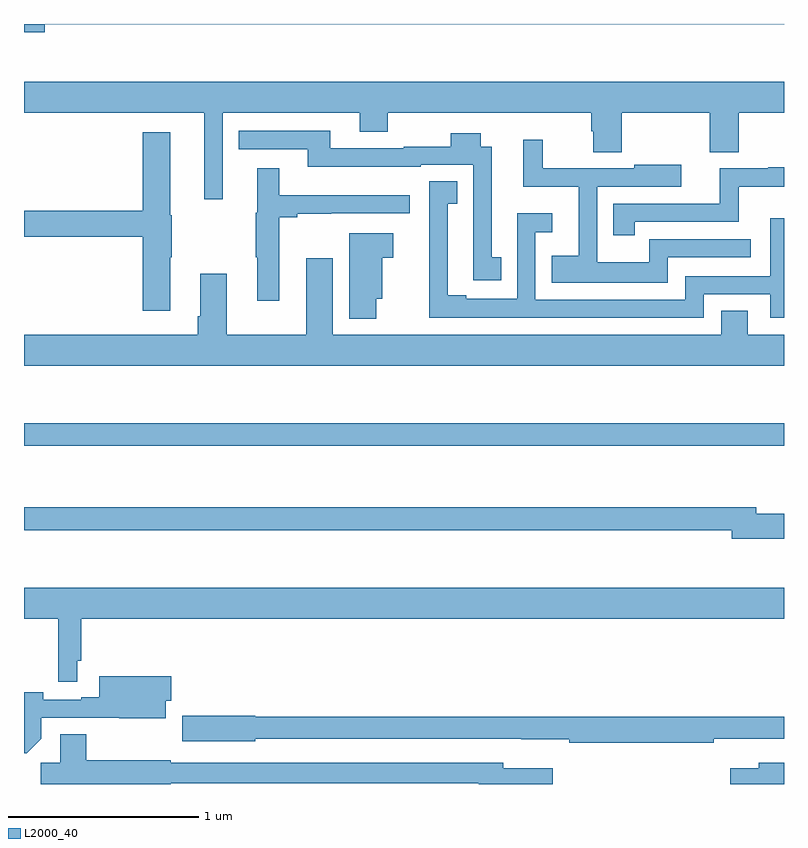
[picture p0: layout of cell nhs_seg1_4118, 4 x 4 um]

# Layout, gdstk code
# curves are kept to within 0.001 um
import gdstk
lib = gdstk.Library(unit=1e-6, precision=1e-09)
def R(c, l, rs):  # rectangles x0, y0, x1, y1
    for r in rs: c.add(gdstk.rectangle(r[:2], r[2:], *l))
def P(c, l, *ps):  # polygons
    for p in ps: c.add(gdstk.Polygon(p, *l))
L2000_40 = (2000, 40)

nhs_seg1_4118 = lib.new_cell('nhs_seg1_4118')
R(nhs_seg1_4118, L2000_40, [(335,549.978,339,550.099)])
P(nhs_seg1_4118, L2000_40, [(335.11,552.198),(339,552.198),(339,552.199),(335,552.199),(335,552.155),(335.11,552.155)],
  [(336.045,551.732),(336.767,551.732),(336.767,551.633),(336.915,551.633),(336.915,551.732),(337.985,551.732),(337.985,551.634),(337.997,551.634),(337.997,551.524),(338.145,551.524),(338.145,551.732),(338.608,551.732),(338.608,551.524),(338.763,551.524),(338.763,551.732),(339,551.732),(339,551.896),(335,551.896),(335,551.732),(335.948,551.732),(335.948,551.277),(336.045,551.277)],
  [(337.511,550.971),(337.462,550.971),(337.462,551.553),(337.405,551.553),(337.405,551.623),(337.246,551.623),(337.246,551.554),(336.999,551.554),(336.999,551.544),(336.613,551.544),(336.613,551.637),(336.13,551.637),(336.13,551.541),(336.494,551.541),(336.494,551.447),(337.089,551.447),(337.089,551.457),(337.365,551.457),(337.365,551.174),(337.364,551.174),(337.364,550.851),(337.511,550.851)],
  [(335.77,550.972),(335.778,550.972),(335.778,551.193),(335.77,551.193),(335.77,551.629),(335.624,551.629),(335.624,551.216),(335,551.216),(335,551.08),(335.624,551.08),(335.624,550.689),(335.77,550.689)],
  [(338.388,550.971),(338.824,550.971),(338.824,551.067),(338.395,551.067),(338.395,551.066),(338.292,551.066),(338.292,550.945),(338.016,550.945),(338.016,551.343),(338.458,551.343),(338.458,551.458),(338.213,551.458),(338.213,551.439),(337.73,551.439),(337.73,551.59),(337.628,551.59),(337.628,551.342),(337.919,551.342),(337.919,550.978),(337.777,550.978),(337.777,550.838),(338.388,550.838)],
  [(338.214,551.157),(338.761,551.157),(338.761,551.342),(339,551.342),(339,551.444),(338.916,551.444),(338.916,551.439),(338.663,551.439),(338.663,551.253),(338.101,551.253),(338.101,551.088),(338.214,551.088)],
  [(336.343,551.182),(336.439,551.182),(336.439,551.2),(336.617,551.2),(336.617,551.202),(337.03,551.202),(337.03,551.299),(336.343,551.299),(336.343,551.44),(336.227,551.44),(336.227,551.205),(336.22,551.205),(336.22,550.972),(336.227,550.972),(336.227,550.743),(336.343,550.743)],
  [(337.589,550.653),(338.577,550.653),(338.577,550.776),(338.928,550.776),(338.928,550.653),(339,550.653),(339,551.176),(338.928,551.176),(338.928,550.872),(338.481,550.872),(338.481,550.749),(337.692,550.749),(337.692,551.102),(337.78,551.102),(337.78,551.203),(337.596,551.203),(337.596,550.753),(337.327,550.753),(337.327,550.771),(337.231,550.771),(337.231,551.254),(337.28,551.254),(337.28,551.372),(337.134,551.372),(337.134,551.105),(337.132,551.105),(337.132,550.652),(337.589,550.652)],
  [(336.853,550.754),(336.886,550.754),(336.886,550.969),(336.943,550.969),(336.943,551.098),(336.713,551.098),(336.713,550.649),(336.853,550.649)],
  [(339,550.564),(338.809,550.564),(338.809,550.691),(338.669,550.691),(338.669,550.564),(336.625,550.564),(336.625,550.966),(336.485,550.966),(336.485,550.564),(336.067,550.564),(336.067,550.885),(335.927,550.885),(335.927,550.66),(335.915,550.66),(335.915,550.564),(335,550.564),(335,550.4),(339,550.4)],
  [(339,549.621),(338.854,549.621),(338.854,549.655),(335,549.655),(335,549.534),(338.726,549.534),(338.726,549.491),(339,549.491)],
  [(335.28,548.848),(335.3,548.848),(335.3,549.068),(339,549.068),(339,549.232),(335,549.232),(335,549.068),(335.179,549.068),(335.179,548.736),(335.28,548.736)],
  [(335.092,548.438),(335.092,548.547),(335.746,548.546),(335.746,548.638),(335.776,548.638),(335.776,548.767),(335.396,548.767),(335.396,548.656),(335.3,548.656),(335.3,548.643),(335.1,548.643),(335.1,548.682),(335,548.682),(335,548.36),(335.014,548.36)],
  [(338.63,548.436),(339,548.436),(339,548.552),(336.216,548.552),(336.216,548.558),(335.832,548.558),(335.832,548.423),(336.216,548.423),(336.216,548.436),(337.618,548.436),(337.618,548.435),(337.87,548.435),(337.87,548.416),(338.63,548.416)],
  [(335.772,548.202),(337.394,548.202),(337.394,548.199),(337.783,548.199),(337.783,548.281),(337.522,548.281),(337.522,548.31),(335.772,548.31),(335.772,548.323),(335.327,548.323),(335.327,548.461),(335.192,548.461),(335.192,548.312),(335.087,548.312),(335.087,548.199),(335.772,548.199)],
  [(339,548.31),(338.867,548.31),(338.867,548.281),(338.718,548.281),(338.718,548.199),(339,548.199)])

lib.write_gds('nhs_seg1_4118.gds')
